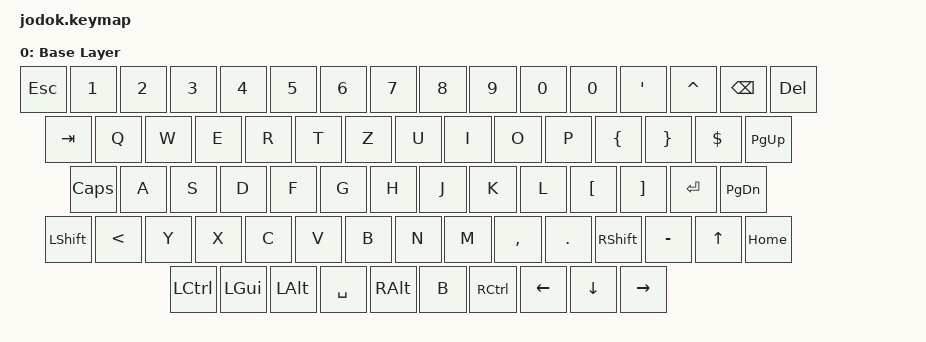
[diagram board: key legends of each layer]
#include <dt-bindings/zmk/keys.h>
#include <dt-bindings/zmk/bt.h>
#include <behaviors.dtsi>

/ {
    keymap {
        compatible = "zmk,keymap";

        default_layer { // Layer 0
            display-name = "Base Layer";
            bindings = <
                // Row 0 (Esc, Tab, Number Keys)
                &kp ESC    &kp N1    &kp N2    &kp N3    &kp N4    &kp N5    &kp N6    &kp N7    &kp N8    &kp N9    &kp N0    &kp N0   &kp QUOT   &kp CARET  &kp BSPC  &kp DEL

                // Row 1 (QWERTY Row)
                &kp TAB   &kp Q     &kp W    &kp E    &kp R    &kp T    &kp Z    &kp U    &kp I    &kp O    &kp P    &kp LEFT_BRACE  &kp RIGHT_BRACE  &kp DLLR  &kp PG_UP

                // Row 2 (Home Row)
                &kp CAPS &kp A     &kp S    &kp D    &kp F    &kp G    &kp H    &kp J    &kp K    &kp L    &kp LEFT_BRACKET &kp RIGHT_BRACKET &kp RET  &kp PG_DN   

                // Row 3 (Bottom Row with Shift, Ctrl, Arrow Keys)
                &kp LEFT_SHIFT   &kp LESS_THAN  &kp Y    &kp X    &kp C    &kp V    &kp B    &kp N    &kp M    &kp COMMA   &kp DOT   &kp RIGHT_SHIFT  &kp MINUS   &kp UP    &kp HOME

                // Row 4 (Backspace, Delete, and Optional Keys)
                &kp LEFT_CONTROL  &kp LGUI  &kp LALT   &kp SPACE   &kp RALT  &kp B   &kp RIGHT_CONTROL &kp LEFT  &kp DOWN  &kp RIGHT
            >;
        };
    };
};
